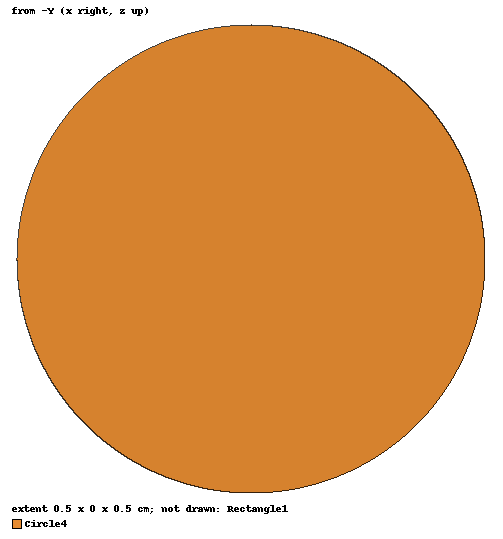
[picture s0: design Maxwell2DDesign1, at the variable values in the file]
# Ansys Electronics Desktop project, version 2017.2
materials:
  vacuum: permittivity=1
  copper: permeability=0.999991 conductivity=58000000
  air: permittivity=1.0006 permeability=1.0000004

design Maxwell2DDesign1 (Maxwell 2D, Magnetostatic, about Z geometry, model units cm)
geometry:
  Circle4 [copper] = circle(normal=Y, centre=(5cm, 0cm, 5cm), radius=0.25cm)
  Rectangle1 [air] = rectangle(corner=(0cm, 0cm, 0cm), z_size=10cm, x_size=10cm)
  Polyline1 [non-model] = polyline((1cm, 0cm, 7cm) (1cm, 0cm, 3cm))
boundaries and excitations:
  Balloon1: Balloon Edges=Rectangle1.edge(all 4)
  Current1: Current Objects=Circle4 Current=1A IsPositive=true
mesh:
  initial mesh: GlobalSurfApproximation{CurvedSurfaceApproxChoice=UseSlider SliderMeshSettings=9} MeshMethod=AnsoftClassic
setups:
  Setup1: Magnetostatic MaximumPasses=10 MinimumPasses=2 MinimumConvergedPasses=1 PercentRefinement=30 PercentError=1 NonLinearResidual=0.0001
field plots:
  Mag_B1: B over Rectangle1 on Setup1 : LastAdaptive
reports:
  XY Plot 1: Mag_B, Mag_H vs Distance on Setup1 : LastAdaptive
